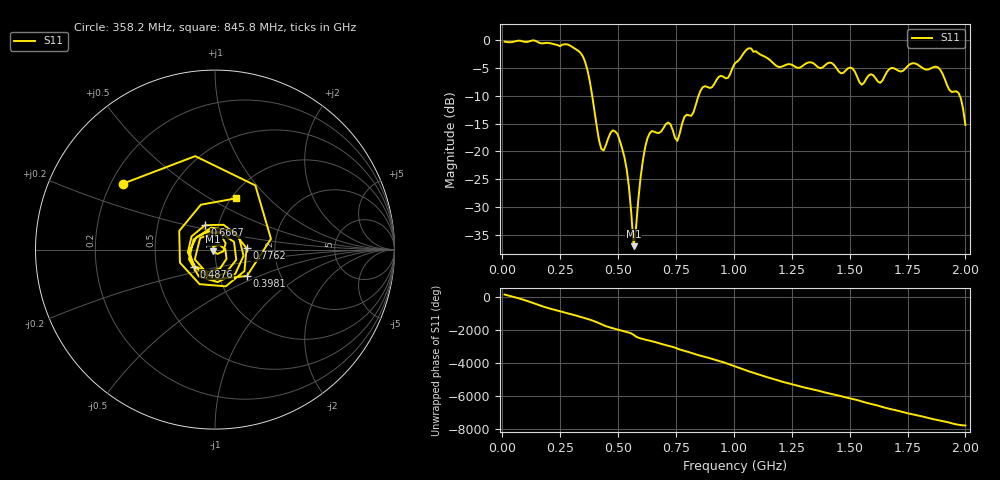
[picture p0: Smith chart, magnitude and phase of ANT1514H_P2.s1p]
!Created with skrf (http://scikit-rf.org).
# Hz S RI R 50.0
!freq ReS11 ImS11
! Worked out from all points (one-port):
!   201 points, 10 MHz to 2 GHz, reference 50 ohm
!   lowest |S11| = -37.0 dB at 567.2 MHz (marker M1), VSWR 1.03, Z = 48.9 - j0.822 ohm
!   |S11| at or under -10 dB: 388.2 MHz to 847.7 MHz (459.5 MHz wide, 74.4 % of centre); 1.975 GHz to end of sweep
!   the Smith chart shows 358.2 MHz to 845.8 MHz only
!   S11 on the Smith chart (normalised r, x): 358.2 MHz: 0.25, +0.30; 398.1 MHz: 1.36, -0.42; 487.6 MHz: 0.78, -0.15; 666.7 MHz: 0.86, +0.24; 776.1 MHz: 1.43, +0.02; 845.8 MHz: 1.05, +0.66
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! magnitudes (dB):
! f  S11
! 10 MHz  -0.3
! 258.8 MHz  -0.8
! 358.2 MHz  -4.0
! 398.1 MHz  -12.7
! 427.9 MHz  -19.6
! 487.6 MHz  -16.4
! 507.5 MHz  -18.1
! 537.4 MHz  -23.3
! 567.2 MHz  -37.0
! 597 MHz  -24.8
! 617 MHz  -19.3
! 636.9 MHz  -16.7
! 666.7 MHz  -16.7
! 716.5 MHz  -14.8
! 756.2 MHz  -18.1
! 776.1 MHz  -15.1
! 845.8 MHz  -10.2
! 975.1 MHz  -6.8
! 1.005 GHz  -4.2
! 1.065 GHz  -1.5
! 1.254 GHz  -4.5
! 1.502 GHz  -4.9
! 1.552 GHz  -8.0
! 1.751 GHz  -4.7
! 1.891 GHz  -5.3
! 1.93 GHz  -8.9
! 1.97 GHz  -9.5
! 2 GHz  -15.3
